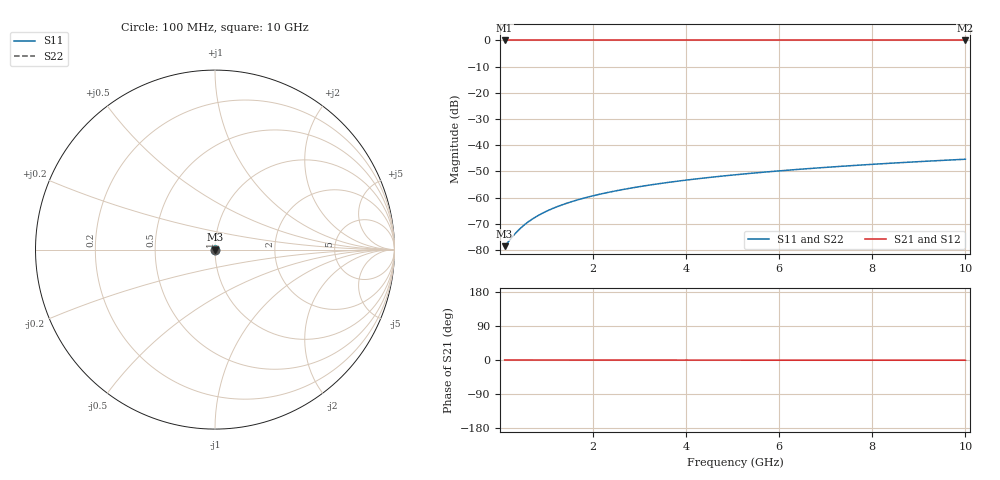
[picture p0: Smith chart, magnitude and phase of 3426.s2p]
# Hz S RI R 50.00
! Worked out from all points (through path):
!   100 points, 100 MHz to 10 GHz, reference 50 ohm
!   highest |S21| = 0.00 dB at 100 MHz (marker M1); lowest = 0.0 dB at 10 GHz (marker M2)
!   lowest |S11| = -78.6 dB at 100 MHz (marker M3), VSWR 1.00, Z = 50 + j0.00538 ohm
!   |S11| at or under -10 dB: start of sweep to end of sweep
!   |S22| runs from -78.6 to -45.4 dB; largest |S21 - S12| = 0
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1e8  0.000105 5.38e-05  0.9999 -0.000111  0.9999 -0.000111  0.000105 5.38e-05
3e8  0.000106 0.000161  0.9999 -0.000332  0.9999 -0.000332  0.000106 0.000161
4e8  0.000107 0.000215  0.9999 -0.000442  0.9999 -0.000442  0.000107 0.000215
5e8  0.000107 0.000269  0.9999 -0.000553  0.9999 -0.000553  0.000107 0.000269
6e8  0.000108 0.000323  0.9999 -0.000663  0.9999 -0.000663  0.000108 0.000323
7e8  0.000108 0.000376  0.9999 -0.000774  0.9999 -0.000774  0.000108 0.000376
8e8  0.000108 0.00043  0.9999 -0.000885  0.9999 -0.000885  0.000108 0.00043
1e9  0.000109 0.000538  0.9999 -0.00111  0.9999 -0.00111  0.000109 0.000538
1.2e9  0.00011 0.000645  0.9999 -0.00133  0.9999 -0.00133  0.00011 0.000645
1.5e9  0.000111 0.000807  0.9999 -0.00166  0.9999 -0.00166  0.000111 0.000807
1.8e9  0.000112 0.000968  0.9999 -0.00199  0.9999 -0.00199  0.000112 0.000968
2.1e9  0.000113 0.00113  0.9999 -0.00232  0.9999 -0.00232  0.000113 0.00113
2.5e9  0.000114 0.00134  0.9999 -0.00277  0.9999 -0.00277  0.000114 0.00134
2.9e9  0.000116 0.00156  0.9999 -0.00321  0.9999 -0.00321  0.000116 0.00156
3.4e9  0.000118 0.00183  0.9999 -0.00376  0.9999 -0.00376  0.000118 0.00183
4.2e9  0.000123 0.00226  0.9999 -0.00465  0.9999 -0.00465  0.000123 0.00226
5.1e9  0.000128 0.00274  0.9999 -0.00565  0.9999 -0.00565  0.000128 0.00274
5.9e9  0.000134 0.00318  0.9999 -0.00653  0.9999 -0.00653  0.000134 0.00318
6.7e9  0.000141 0.00361  0.9998 -0.00742  0.9998 -0.00742  0.000141 0.00361
7.5e9  0.000149 0.00404  0.9998 -0.00831  0.9998 -0.00831  0.000149 0.00404
8.4e9  0.000158 0.00453  0.9998 -0.00931  0.9998 -0.00931  0.000158 0.00453
1e10  0.000177 0.00539  0.9998 -0.0111  0.9998 -0.0111  0.000177 0.00539
